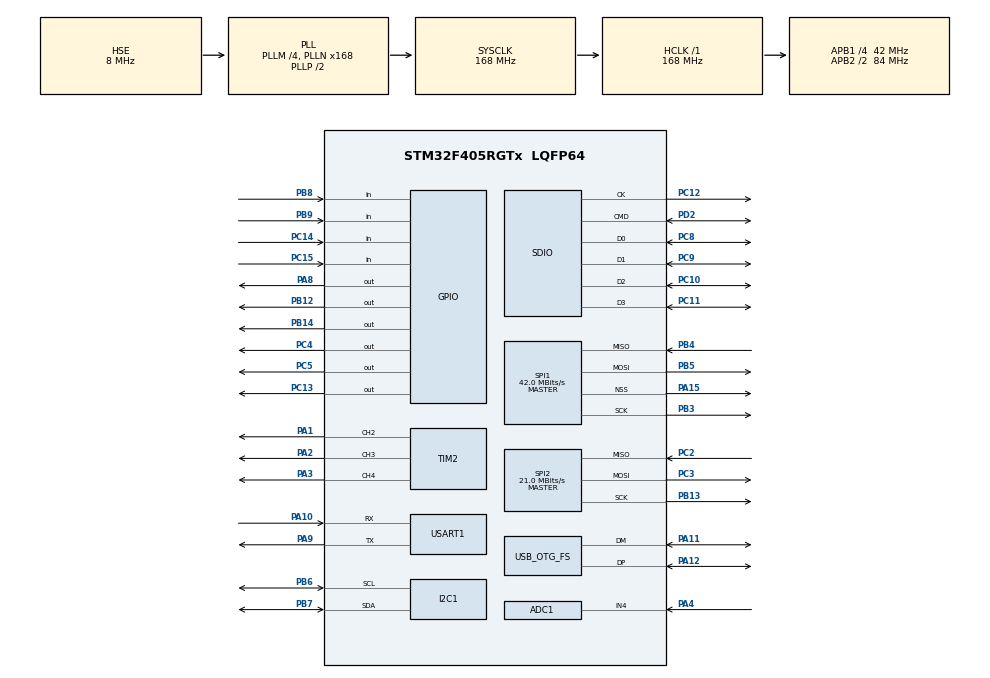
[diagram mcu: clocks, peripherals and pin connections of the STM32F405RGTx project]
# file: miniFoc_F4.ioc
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ADC1.Channel-0\#ChannelRegularConversion=ADC_CHANNEL_4
ADC1.NbrOfConversionFlag=1
ADC1.Rank-0\#ChannelRegularConversion=1
ADC1.SamplingTime-0\#ChannelRegularConversion=ADC_SAMPLETIME_3CYCLES
ADC1.master=1
Dma.Request0=SDIO_RX
Dma.Request1=SDIO_TX
Dma.SDIO_RX.0.Direction=DMA_PERIPH_TO_MEMORY
Dma.SDIO_RX.0.FIFOMode=DMA_FIFOMODE_ENABLE
Dma.SDIO_RX.0.FIFOThreshold=DMA_FIFO_THRESHOLD_FULL
Dma.SDIO_RX.0.Instance=DMA2_Stream3
Dma.SDIO_RX.0.MemBurst=DMA_MBURST_INC4
Dma.SDIO_RX.0.MemDataAlignment=DMA_MDATAALIGN_WORD
Dma.SDIO_RX.0.MemInc=DMA_MINC_ENABLE
Dma.SDIO_RX.0.Mode=DMA_PFCTRL
Dma.SDIO_RX.0.PeriphBurst=DMA_PBURST_INC4
Dma.SDIO_RX.0.PeriphDataAlignment=DMA_PDATAALIGN_WORD
Dma.SDIO_RX.0.PeriphInc=DMA_PINC_DISABLE
Dma.SDIO_RX.0.Priority=DMA_PRIORITY_LOW
Dma.SDIO_TX.1.Direction=DMA_MEMORY_TO_PERIPH
Dma.SDIO_TX.1.FIFOMode=DMA_FIFOMODE_ENABLE
Dma.SDIO_TX.1.FIFOThreshold=DMA_FIFO_THRESHOLD_FULL
Dma.SDIO_TX.1.Instance=DMA2_Stream6
Dma.SDIO_TX.1.MemBurst=DMA_MBURST_INC4
Dma.SDIO_TX.1.MemDataAlignment=DMA_MDATAALIGN_WORD
Dma.SDIO_TX.1.MemInc=DMA_MINC_ENABLE
Dma.SDIO_TX.1.Mode=DMA_PFCTRL
Dma.SDIO_TX.1.PeriphBurst=DMA_PBURST_INC4
Dma.SDIO_TX.1.PeriphDataAlignment=DMA_PDATAALIGN_WORD
Dma.SDIO_TX.1.PeriphInc=DMA_PINC_DISABLE
Dma.SDIO_TX.1.Priority=DMA_PRIORITY_LOW
FATFS._CODE_PAGE=936
FATFS._USE_LFN=3
FREERTOS.Tasks01=defaultTask,24,128,StartDefaultTask,Default,NULL,Dynamic,NULL,NULL
FREERTOS.configENABLE_FPU=1
FREERTOS.configTOTAL_HEAP_SIZE=0x3c00
Mcu.Family=STM32F4
Mcu.Name=STM32F405RGTx
Mcu.Package=LQFP64
NVIC.DMA2_Stream3_IRQn=true\:6\:0\:true\:false\:true\:true\:false\:true\:true
NVIC.DMA2_Stream6_IRQn=true\:6\:0\:true\:false\:true\:true\:false\:true\:true
NVIC.OTG_FS_IRQn=true\:5\:0\:false\:false\:true\:true\:true\:true\:true
NVIC.PriorityGroup=NVIC_PRIORITYGROUP_4
NVIC.SDIO_IRQn=true\:5\:0\:false\:false\:true\:true\:true\:true\:true
NVIC.TIM4_IRQn=true\:5\:0\:false\:false\:true\:true\:true\:true\:true
NVIC.USART1_IRQn=true\:5\:0\:false\:false\:true\:true\:true\:true\:true
PA1.Signal=S_TIM2_CH2
PA10.Mode=Asynchronous
PA10.Signal=USART1_RX
PA11.Mode=Device_Only
PA11.Signal=USB_OTG_FS_DM
PA12.Mode=Device_Only
PA12.Signal=USB_OTG_FS_DP
PA13.Mode=Serial_Wire
PA13.Signal=SYS_JTMS-SWDIO
PA14.Mode=Serial_Wire
PA14.Signal=SYS_JTCK-SWCLK
PA15.Mode=NSS_Signal_Hard_Output
PA15.Signal=SPI1_NSS
PA2.Signal=S_TIM2_CH3
PA3.Signal=S_TIM2_CH4
PA4.Signal=ADCx_IN4
PA8.Signal=GPIO_Output
PA9.Mode=Asynchronous
PA9.Signal=USART1_TX
PB12.Signal=GPIO_Output
PB13.Mode=Full_Duplex_Master
PB13.Signal=SPI2_SCK
PB14.Signal=GPIO_Output
PB3.Mode=Full_Duplex_Master
PB3.Signal=SPI1_SCK
PB4.Mode=Full_Duplex_Master
PB4.Signal=SPI1_MISO
PB5.Mode=Full_Duplex_Master
PB5.Signal=SPI1_MOSI
PB6.Mode=I2C
PB6.Signal=I2C1_SCL
PB7.Mode=I2C
PB7.Signal=I2C1_SDA
PB8.Signal=GPIO_Input
PB9.Signal=GPIO_Input
PC10.Mode=SD_4_bits_Wide_bus
PC10.Signal=SDIO_D2
PC11.Mode=SD_4_bits_Wide_bus
PC11.Signal=SDIO_D3
PC12.Mode=SD_4_bits_Wide_bus
PC12.Signal=SDIO_CK
PC13-ANTI_TAMP.Signal=GPIO_Output
PC14-OSC32_IN.Signal=GPIO_Input
PC15-OSC32_OUT.Signal=GPIO_Input
PC2.Mode=Full_Duplex_Master
PC2.Signal=SPI2_MISO
PC3.Mode=Full_Duplex_Master
PC3.Signal=SPI2_MOSI
PC4.Signal=GPIO_Output
PC5.Signal=GPIO_Output
PC8.Mode=SD_4_bits_Wide_bus
PC8.Signal=SDIO_D0
PC9.Mode=SD_4_bits_Wide_bus
PC9.Signal=SDIO_D1
PD2.Mode=SD_4_bits_Wide_bus
PD2.Signal=SDIO_CMD
PH0-OSC_IN.Mode=HSE-External-Oscillator
PH0-OSC_IN.Signal=RCC_OSC_IN
PH1-OSC_OUT.Mode=HSE-External-Oscillator
PH1-OSC_OUT.Signal=RCC_OSC_OUT
ProjectManager.HeapSize=0x200
ProjectManager.StackSize=0x400
ProjectManager.TargetToolchain=STM32CubeIDE
RCC.48MHZClocksFreq_Value=48000000
RCC.AHBFreq_Value=168000000
RCC.APB1CLKDivider=RCC_HCLK_DIV4
RCC.APB1Freq_Value=42000000
RCC.APB1TimFreq_Value=84000000
RCC.APB2CLKDivider=RCC_HCLK_DIV2
RCC.APB2Freq_Value=84000000
RCC.APB2TimFreq_Value=168000000
RCC.CortexFreq_Value=168000000
RCC.HCLKFreq_Value=168000000
RCC.HSE_VALUE=8000000
RCC.HSI_VALUE=16000000
RCC.LSE_VALUE=32768
RCC.PLLM=4
RCC.PLLN=168
RCC.PLLQ=7
RCC.SYSCLKFreq_VALUE=168000000
RCC.SYSCLKSource=RCC_SYSCLKSOURCE_PLLCLK
RCC.VCOOutputFreq_Value=336000000
SH.ADCx_IN4.0=ADC1_IN4,IN4
SH.S_TIM2_CH2.0=TIM2_CH2,PWM Generation2 CH2
SH.S_TIM2_CH3.0=TIM2_CH3,PWM Generation3 CH3
SH.S_TIM2_CH4.0=TIM2_CH4,PWM Generation4 CH4
SPI1.BaudRatePrescaler=SPI_BAUDRATEPRESCALER_2
SPI1.CalculateBaudRate=42.0 MBits/s
SPI1.Direction=SPI_DIRECTION_2LINES
SPI1.Mode=SPI_MODE_MASTER
SPI1.VirtualNSS=VM_NSSHARD
SPI1.VirtualType=VM_MASTER
SPI2.BaudRatePrescaler=SPI_BAUDRATEPRESCALER_2
SPI2.CalculateBaudRate=21.0 MBits/s
SPI2.Direction=SPI_DIRECTION_2LINES
SPI2.Mode=SPI_MODE_MASTER
SPI2.VirtualType=VM_MASTER
TIM2.Channel-PWM\ Generation2\ CH2=TIM_CHANNEL_2
TIM2.Channel-PWM\ Generation3\ CH3=TIM_CHANNEL_3
TIM2.Channel-PWM\ Generation4\ CH4=TIM_CHANNEL_4
TIM4.AutoReloadPreload=TIM_AUTORELOAD_PRELOAD_ENABLE
TIM4.Period=49
TIM4.Prescaler=83
USART1.VirtualMode=VM_ASYNC
USB_DEVICE.CLASS_NAME_FS=CDC
USB_DEVICE.VirtualMode-CDC_FS=Cdc
USB_DEVICE.VirtualModeFS=Cdc_FS
USB_OTG_FS.VirtualMode=Device_Only
VP_CRC_VS_CRC.Mode=CRC_Activate
VP_FATFS_VS_SDIO.Mode=SDIO
VP_FREERTOS_VS_CMSIS_V2.Mode=CMSIS_V2
VP_IWDG_VS_IWDG.Mode=IWDG_Activate
VP_RNG_VS_RNG.Mode=RNG_Activate
VP_TIM2_VS_ClockSourceINT.Mode=Internal
VP_TIM4_VS_ClockSourceINT.Mode=Internal
VP_USB_DEVICE_VS_USB_DEVICE_CDC_FS.Mode=CDC_FS
board=custom

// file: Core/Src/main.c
/* USER CODE BEGIN Header */
/**
  ******************************************************************************
  * @file           : main.c
  * @brief          : Main program body
  ******************************************************************************
  * @attention
  *
  * Copyright (c) 2023 STMicroelectronics.
  * All rights reserved.
  *
  * This software is licensed under terms that can be found in the LICENSE file
  * in the root directory of this software component.
  * If no LICENSE file comes with this software, it is provided AS-IS.
  *
  ******************************************************************************
  */
/* USER CODE END Header */
#include "main.h"
#include "cmsis_os.h"
#include "adc.h"
#include "crc.h"
#include "dma.h"
#include "fatfs.h"
#include "i2c.h"
#include "iwdg.h"
#include "rng.h"
#include "sdio.h"
#include "spi.h"
#include "tim.h"
#include "usart.h"
#include "usb_device.h"
#include "gpio.h"

/* USER CODE BEGIN Includes */
#include "../../framework/MiniCommon.h"
#include "platform_init.h"
/* USER CODE END Includes */

void SystemClock_Config(void);
void MX_FREERTOS_Init(void);

/* USER CODE BEGIN 0 */
int __io_putchar(int ch) {
  usb_write_data((const char *)&ch, 1);
  return MiniUart_writeData(MINI_CONSOLE_USART_IDX, (char *)&ch, 1);
}

static void USB_Status_Init(void) {
  GPIO_InitTypeDef GPIO_InitStruct = {0};

  /* GPIO Ports Clock Enable */
  __HAL_RCC_GPIOA_CLK_ENABLE();

  /*Configure GPIO pin Output Level */
  HAL_GPIO_WritePin(GPIOA, GPIO_PIN_11 | GPIO_PIN_12, GPIO_PIN_RESET);

  /*Configure GPIO pin : W25Q256_CS_Pin */
  GPIO_InitStruct.Pin = GPIO_PIN_11 | GPIO_PIN_12;
  GPIO_InitStruct.Mode = GPIO_MODE_OUTPUT_PP;
  GPIO_InitStruct.Pull = GPIO_PULLDOWN;
  GPIO_InitStruct.Speed = GPIO_SPEED_FREQ_VERY_HIGH;
  HAL_GPIO_Init(GPIOA, &GPIO_InitStruct);

  //假如不行的话，下面的延时加长即可。
  HAL_Delay(20);
}
/* USER CODE END 0 */

int main(void) {

  /* MCU Configuration--------------------------------------------------------*/

  /* Reset of all peripherals, Initializes the Flash interface and the Systick. */
  HAL_Init();

  /* USER CODE BEGIN Init */
  MX_TIM4_Init();
  /* USER CODE END Init */

  /* Configure the system clock */
  SystemClock_Config();

  /* USER CODE BEGIN SysInit */
  USB_Status_Init();
  /* USER CODE END SysInit */

  /* Initialize all configured peripherals */
  MX_GPIO_Init();
  MX_DMA_Init();
  MX_ADC1_Init();
  MX_CRC_Init();
  MX_I2C1_Init();
  MX_RNG_Init();
  MX_SDIO_SD_Init();
  MX_SPI1_Init();
  MX_SPI2_Init();
  MX_TIM2_Init();
  MX_USART1_UART_Init();
  MX_FATFS_Init();

  // MX_IWDG_Init();

  /* Init scheduler */
  osKernelInitialize();  /* Call init function for freertos objects (in freertos.c) */
  MX_FREERTOS_Init();

  /* Start scheduler */
  osKernelStart();

  /* We should never get here as control is now taken by the scheduler */
  /* Infinite loop */
  while (1) {

  }
}

void SystemClock_Config(void) {
  RCC_OscInitTypeDef RCC_OscInitStruct = {0};
  RCC_ClkInitTypeDef RCC_ClkInitStruct = {0};

  /** Configure the main internal regulator output voltage
  */
  __HAL_RCC_PWR_CLK_ENABLE();
  __HAL_PWR_VOLTAGESCALING_CONFIG(PWR_REGULATOR_VOLTAGE_SCALE1);

  /** Initializes the RCC Oscillators according to the specified parameters
  * in the RCC_OscInitTypeDef structure.
  */
  RCC_OscInitStruct.OscillatorType = RCC_OSCILLATORTYPE_LSI | RCC_OSCILLATORTYPE_HSE;
  RCC_OscInitStruct.HSEState = RCC_HSE_ON;
  RCC_OscInitStruct.LSIState = RCC_LSI_ON;
  RCC_OscInitStruct.PLL.PLLState = RCC_PLL_ON;
  RCC_OscInitStruct.PLL.PLLSource = RCC_PLLSOURCE_HSE;
  RCC_OscInitStruct.PLL.PLLM = 4;
  RCC_OscInitStruct.PLL.PLLN = 168;
  RCC_OscInitStruct.PLL.PLLP = RCC_PLLP_DIV2;
  RCC_OscInitStruct.PLL.PLLQ = 7;
  if (HAL_RCC_OscConfig(&RCC_OscInitStruct) != HAL_OK) {
    Error_Handler();
  }

  /** Initializes the CPU, AHB and APB buses clocks
  */
  RCC_ClkInitStruct.ClockType = RCC_CLOCKTYPE_HCLK | RCC_CLOCKTYPE_SYSCLK
      | RCC_CLOCKTYPE_PCLK1 | RCC_CLOCKTYPE_PCLK2;
  RCC_ClkInitStruct.SYSCLKSource = RCC_SYSCLKSOURCE_PLLCLK;
  RCC_ClkInitStruct.AHBCLKDivider = RCC_SYSCLK_DIV1;
  RCC_ClkInitStruct.APB1CLKDivider = RCC_HCLK_DIV4;
  RCC_ClkInitStruct.APB2CLKDivider = RCC_HCLK_DIV2;

  if (HAL_RCC_ClockConfig(&RCC_ClkInitStruct, FLASH_LATENCY_5) != HAL_OK) {
    Error_Handler();
  }
}

void Error_Handler(void) {
  __disable_irq();
  while (1) {
  }
}

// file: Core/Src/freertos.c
/* USER CODE BEGIN Header */
/**
  ******************************************************************************
  * File Name          : freertos.c
  * Description        : Code for freertos applications
  ******************************************************************************
  * @attention
  *
  * Copyright (c) 2023 STMicroelectronics.
  * All rights reserved.
  *
  * This software is licensed under terms that can be found in the LICENSE file
  * in the root directory of this software component.
  * If no LICENSE file comes with this software, it is provided AS-IS.
  *
  ******************************************************************************
  */
/* USER CODE END Header */

#include "FreeRTOS.h"
#include "task.h"
#include "main.h"
#include "cmsis_os.h"

/* USER CODE BEGIN Includes */
#include "../../framework/MiniCommon.h"
/* USER CODE END Includes */

/* USER CODE BEGIN PTD */
#undef LOG_TAG
#define LOG_TAG  "FREERTOS"
/* USER CODE END PTD */

/* USER CODE BEGIN PD */
/* USER CODE END Variables */
/* Private function prototypes -----------------------------------------------*/
/* USER CODE BEGIN FunctionPrototypes */

/* USER CODE END PD */

/* Definitions for defaultTask */
osThreadId_t defaultTaskHandle;
const osThreadAttr_t defaultTask_attributes = {
        .name = "defaultTask",
        .stack_size = 4096 * 4,
        .priority = (osPriority_t) osPriorityLow,
};

void StartDefaultTask(void *argument);

extern void MX_USB_DEVICE_Init(void);

void MX_FREERTOS_Init(void); /* (MISRA C 2004 rule 8.1) */

void MX_FREERTOS_Init(void) {

    /* Create the thread(s) */
    /* creation of defaultTask */
    defaultTaskHandle = osThreadNew(StartDefaultTask, NULL, &defaultTask_attributes);

}

#include "test/test.h"
void StartDefaultTask(void *argument) {
    UNUSED(argument);
    /* init code for USB_DEVICE */
    MX_USB_DEVICE_Init();
    /* USER CODE BEGIN StartDefaultTask */
    platform_init();

    app_init();
    /* Infinite loop */
    for (;;) {
        MiniCommon_led1Toggle();
        MiniCommon_delayMs(1000);
    }

    /* USER CODE END StartDefaultTask */
}

#if 0
/* USER CODE BEGIN Application */

void SuspendToRunOtherTask(osThreadId_t other_task) {
  if (other_task == taskSelectTaskHandle) {
    MiniCommon_led1On(LED_ON);
  } else {
    MiniCommon_led1On(LED_OFF);
  }
  button_reset_all_flags();
  FOC_SVPWM(0, 0, 0);
  osThreadResume(other_task);
  osThreadSuspend(osThreadGetId());
}

void TaskSelectTask(void *argument) {
  ST7735_Init();
  ST7735_LedOn();
  gui_draw_init("FOC init", 1);
  FOC_init();
  gui_draw_init("CS init", 0);
//  cs_init();
  gui_draw_init("Calibrating", 0);
  FOC_electrical_angle_calibration();

  FOC_CONTROL_MODE mode = OPEN_LOOP_POSITION_CONTROL;
  portENTER_CRITICAL();
  gui_draw_mode_selection(mode);
  portEXIT_CRITICAL();
  TickType_t xLastWakeTime = xTaskGetTickCount();

  MiniCommon_led2On(LED_ON);
  while (1) {
    if (button_press_pending_flag) {
      if (button_left_press_pending_flag) {
        if (mode) mode--;
        else mode = FOC_CONTROL_MODE_NUM - 1;
        gui_draw_mode_selection(mode);

      } else if (button_right_press_pending_flag) {
        mode++;
        if (mode > FOC_CONTROL_MODE_NUM - 1) mode = 0;
        gui_draw_mode_selection(mode);

      } else if (button_confirm_press_pending_flag) {
        switch (mode) {
          case OPEN_LOOP_POSITION_CONTROL:
            SuspendToRunOtherTask(openLoopPosControlTaskHandle);
            break;
          case OPEN_LOOP_SPEED_CONTROL:
            SuspendToRunOtherTask(openLoopVelControlTaskHandle);
            break;
          case TORQUE_CONTROL:
            SuspendToRunOtherTask(torqueControlTaskHandle);
            break;
          case SPEED_CONTROL:
            SuspendToRunOtherTask(velocityControlTaskHandle);
            break;
          case POSITION_CONTROL:;
            SuspendToRunOtherTask(positionControlTaskHandle);
            break;
          case SPRING:
            spring_pid = &pid_spring;
            SuspendToRunOtherTask(springTaskHandle);
            break;
          case SPRING_WITH_DAMP:
            spring_pid = &pid_spring_with_damp;
            SuspendToRunOtherTask(springTaskHandle);
            break;
          case DAMP:
            spring_pid = &pid_damp;
            SuspendToRunOtherTask(springTaskHandle);
            break;
          case KNOB:
            SuspendToRunOtherTask(knobTaskHandle);
            break;
          case ZERO_RESISTANCE:
            spring_pid = &pid_zero_resistance;
            SuspendToRunOtherTask(springTaskHandle);
            break;
        }
        gui_draw_mode_selection(mode);
        continue;
      }

      button_reset_all_flags();
    }
    vTaskDelayUntil(&xLastWakeTime,
                    10);
  }
}

void OpenLoopPosControlTask(void *argument) {
  float angle = 0, Ud = 1;
  TickType_t xLastWakeTime = xTaskGetTickCount();

  while (1) {
    if (button_press_pending_flag) {
      if (button_left_press_pending_flag) {
        angle -= _PI_2;
      } else if (button_right_press_pending_flag) {
        angle += _PI_2;
      } else if (button_cancel_press_pending_flag) {
        SuspendToRunOtherTask(taskSelectTaskHandle);
        continue;
      }
      log_d("%s %4.2f",__FUNCTION__, angle);
      button_reset_all_flags();
    }
    FOC_SVPWM(0, Ud, angle);
    vTaskDelayUntil(&xLastWakeTime,
                    1); // every FOC control task need at least 1ms delay otherwise cannot detect key press normally
  }
}

void OpenLoopVelControlTask(void *argument) {
  float angle = 0, Ud = 1, delta_angle = 0;
  TickType_t xLastWakeTime = xTaskGetTickCount();
  while (1) {
    if (button_press_pending_flag) {
      if (button_left_press_pending_flag) {
        delta_angle -= 0.01;
        if (delta_angle < -_PI) delta_angle = -_PI;
      } else if (button_right_press_pending_flag) {
        delta_angle += 0.01;
        if (delta_angle > _PI) delta_angle = _PI;
      } else if (button_cancel_press_pending_flag) {
        SuspendToRunOtherTask(taskSelectTaskHandle);
        continue;
      }
      button_reset_all_flags();
    }
    angle += delta_angle;
    FOC_SVPWM(0, Ud, angle);
    vTaskDelayUntil(&xLastWakeTime,
                    1); // every FOC control task need at least 1ms delay otherwise cannot detect key press normally
  }
}

void TorqueControlTask(void *argument) {
  TickType_t xLastWakeTime = xTaskGetTickCount();
  float Uq = 0;

  while (1) {
    if (button_press_pending_flag) {
      if (button_left_press_pending_flag) {
        Uq -= 1.0;
      } else if (button_right_press_pending_flag) {
        Uq += 1.0;
      } else if (button_cancel_press_pending_flag) {
        SuspendToRunOtherTask(taskSelectTaskHandle);
        continue;
      }
      button_reset_all_flags();
    }
    FOC_open_loop_voltage_control_loop(Uq);

    vTaskDelayUntil(&xLastWakeTime,
                    1); // every FOC control task need at least 1ms delay otherwise cannot detect key press normally
  }
}

void VelocityControlTask(void *argument) {
  float velocity = 0;
  TickType_t xLastWakeTime = xTaskGetTickCount();

  while (1) {
    if (button_press_pending_flag) {
      if (button_left_press_pending_flag) {
        velocity -= 5;
      } else if (button_right_press_pending_flag) {
        velocity += 5;
      } else if (button_cancel_press_pending_flag) {
        SuspendToRunOtherTask(taskSelectTaskHandle);
        continue;
      }
      button_reset_all_flags();
    }

    FOC_velocity_control_loop(velocity);
    vTaskDelayUntil(&xLastWakeTime,
                    1); // every FOC control task need at least 1ms delay otherwise cannot detect key press normally
  }
}

void PositionControlTask(void *argument) {
  float angle = 0;
  TickType_t xLastWakeTime = xTaskGetTickCount();
  gui_draw_position_mode(angle, 1);

  while (1) {
    if (button_press_pending_flag) {
      if (button_left_press_pending_flag) {
        angle -= _PI_2;
      } else if (button_right_press_pending_flag) {
        angle += _PI_2;
      } else if (button_cancel_press_pending_flag) {
        SuspendToRunOtherTask(taskSelectTaskHandle);
        gui_draw_position_mode(angle, 1);
        continue;
      }
      button_reset_all_flags();
      gui_draw_position_mode(angle, 0);
    }

    FOC_position_control_loop(angle);
    vTaskDelayUntil(&xLastWakeTime,
                    1); // every FOC control task need at least 1ms delay otherwise cannot detect key press normally
  }
}

void SpringTask(void *argument) {
  TickType_t xLastWakeTime = xTaskGetTickCount();
  while (1) {
    if (button_press_pending_flag) {
      if (button_cancel_press_pending_flag) {
        SuspendToRunOtherTask(taskSelectTaskHandle);
        continue;
      }
      button_reset_all_flags();
    }
    FOC_spring_loop(0, spring_pid);
    vTaskDelayUntil(&xLastWakeTime,
                    1); // every FOC control task need at least 1ms delay otherwise cannot detect key press normally
  }
}

void DampTask(void *argument) {

}

void KnobTask(void *argument) {
  TickType_t xLastWakeTime = xTaskGetTickCount();

  // Settings
  uint8_t select_param = 0;
  const uint8_t max_select_param = 3;
  uint8_t change_param = 0;

  uint8_t values[3] = {4, 5, 4}; // [0]: sector_num [1]: k [2]: max_force

  pid_knob.Kp = values[1];
  pid_knob.max_u = values[2];
  pid_knob.min_u = -values[2];
  gui_draw_knob_mode(values[0], values[1], values[2], select_param, change_param, 1);

  while (1) {
    if (button_press_pending_flag) {
      if (button_confirm_press_pending_flag) {
        if (select_param) {
          change_param = !change_param;
        }
      } else if (button_left_press_pending_flag) {
        if (change_param) {
          values[select_param - 1]--;

          // reconfigure
          pid_knob.Kp = values[1];
          pid_knob.max_u = values[2];
          pid_knob.min_u = -values[2];
          gui_draw_knob_mode(values[0], values[1], values[2], select_param, change_param, 0);
        } else {
          if (select_param == 0) {
            select_param = max_select_param;
          } else select_param--;
        }
      } else if (button_right_press_pending_flag) {
        if (change_param) {
          values[select_param - 1]++;

          // reconfigure
          pid_knob.Kp = values[1];
          pid_knob.max_u = values[2];
          pid_knob.min_u = -values[2];
          gui_draw_knob_mode(values[0], values[1], values[2], select_param, change_param, 0);
        } else {
          if (select_param == max_select_param) {
            select_param = 0;
          } else select_param++;
        }
      } else if (button_cancel_press_pending_flag) {
        SuspendToRunOtherTask(taskSelectTaskHandle);
        gui_draw_knob_mode(values[0], values[1], values[2], select_param, change_param, 1);
        continue;
      }
      button_reset_all_flags();
      gui_draw_knob_mode(values[0], values[1], values[2], select_param, change_param, 0);
    }

    FOC_knob_loop(values[0]);
    vTaskDelayUntil(&xLastWakeTime,
                    1); // every FOC control task need at least 1ms delay otherwise cannot detect key press normally
  }
}

#endif

/* USER CODE END Application */
